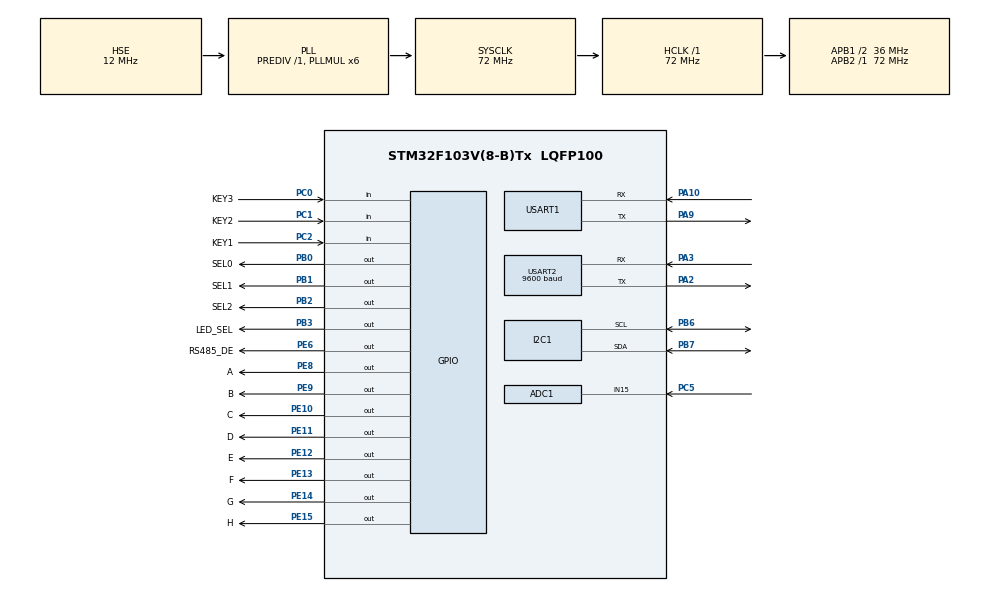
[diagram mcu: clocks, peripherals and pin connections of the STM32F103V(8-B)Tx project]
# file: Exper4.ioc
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ADC1.Channel-0\#ChannelRegularConversion=ADC_CHANNEL_15
ADC1.NbrOfConversionFlag=1
ADC1.Rank-0\#ChannelRegularConversion=1
ADC1.SamplingTime-0\#ChannelRegularConversion=ADC_SAMPLETIME_1CYCLE_5
ADC1.master=1
Mcu.Family=STM32F1
Mcu.Name=STM32F103V(8-B)Tx
Mcu.Package=LQFP100
NVIC.PriorityGroup=NVIC_PRIORITYGROUP_4
NVIC.TIM3_IRQn=true\:0\:0\:false\:false\:true\:true\:true\:true
NVIC.USART2_IRQn=true\:0\:0\:false\:false\:true\:true\:true\:true
OSC_IN.Mode=HSE-External-Oscillator
OSC_IN.Signal=RCC_OSC_IN
OSC_OUT.Mode=HSE-External-Oscillator
OSC_OUT.Signal=RCC_OSC_OUT
PA10.Mode=Asynchronous
PA10.Signal=USART1_RX
PA13.Mode=Serial_Wire
PA13.Signal=SYS_JTMS-SWDIO
PA14.Mode=Serial_Wire
PA14.Signal=SYS_JTCK-SWCLK
PA2.Mode=Asynchronous
PA2.Signal=USART2_TX
PA3.Mode=Asynchronous
PA3.Signal=USART2_RX
PA9.Mode=Asynchronous
PA9.Signal=USART1_TX
PB0.GPIO_Label=SEL0
PB0.Signal=GPIO_Output
PB1.GPIO_Label=SEL1
PB1.Signal=GPIO_Output
PB2.GPIO_Label=SEL2
PB2.Signal=GPIO_Output
PB3.GPIO_Label=LED_SEL
PB3.Signal=GPIO_Output
PB6.Mode=I2C
PB6.Signal=I2C1_SCL
PB7.Mode=I2C
PB7.Signal=I2C1_SDA
PC0.GPIO_Label=KEY3
PC0.Signal=GPIO_Input
PC1.GPIO_Label=KEY2
PC1.Signal=GPIO_Input
PC14-OSC32_IN.Mode=LSE-External-Oscillator
PC14-OSC32_IN.Signal=RCC_OSC32_IN
PC15-OSC32_OUT.Mode=LSE-External-Oscillator
PC15-OSC32_OUT.Signal=RCC_OSC32_OUT
PC2.GPIO_Label=KEY1
PC2.Signal=GPIO_Input
PC5.Signal=ADCx_IN15
PE10.GPIO_Label=C
PE10.Signal=GPIO_Output
PE11.GPIO_Label=D
PE11.Signal=GPIO_Output
PE12.GPIO_Label=E
PE12.Signal=GPIO_Output
PE13.GPIO_Label=F
PE13.Signal=GPIO_Output
PE14.GPIO_Label=G
PE14.Signal=GPIO_Output
PE15.GPIO_Label=H
PE15.Signal=GPIO_Output
PE6.GPIO_Label=RS485_DE
PE6.Signal=GPIO_Output
PE8.GPIO_Label=A
PE8.Signal=GPIO_Output
PE9.GPIO_Label=B
PE9.Signal=GPIO_Output
ProjectManager.HeapSize=0x200
ProjectManager.StackSize=0x400
ProjectManager.TargetToolchain=STM32CubeIDE
RCC.ADCPresc=RCC_ADCPCLK2_DIV6
RCC.AHBFreq_Value=72000000
RCC.APB1CLKDivider=RCC_HCLK_DIV2
RCC.APB1Freq_Value=36000000
RCC.APB1TimFreq_Value=72000000
RCC.APB2Freq_Value=72000000
RCC.APB2TimFreq_Value=72000000
RCC.HCLKFreq_Value=72000000
RCC.HSE_VALUE=12000000
RCC.PLLMUL=RCC_PLL_MUL6
RCC.PLLSourceVirtual=RCC_PLLSOURCE_HSE
RCC.SYSCLKFreq_VALUE=72000000
RCC.SYSCLKSource=RCC_SYSCLKSOURCE_PLLCLK
RCC.USBFreq_Value=72000000
SH.ADCx_IN15.0=ADC1_IN15,IN15
TIM3.Period=2000-1
TIM3.Prescaler=72-1
USART1.VirtualMode=VM_ASYNC
USART2.BaudRate=9600
USART2.VirtualMode=VM_ASYNC
VP_RTC_VS_RTC_Activate.Mode=RTC_Enabled
VP_TIM3_VS_ClockSourceINT.Mode=Internal
board=custom

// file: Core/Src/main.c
/* USER CODE BEGIN Header */
/**
  ******************************************************************************
  * @file           : main.c
  * @brief          : Main program body
  ******************************************************************************
  * @attention
  *
  * Copyright (c) 2025 STMicroelectronics.
  * All rights reserved.
  *
  * This software is licensed under terms that can be found in the LICENSE file
  * in the root directory of this software component.
  * If no LICENSE file comes with this software, it is provided AS-IS.
  *
  ******************************************************************************
  */
/* USER CODE END Header */
#include "main.h"

/* USER CODE BEGIN Includes */
#include<stdio.h>
#include<string.h>
#include <math.h>
/* USER CODE END Includes */

/* USER CODE BEGIN PTD */
/* 角色定义 */
typedef enum {
    ROLE_SLAVE = 0, // 默认是从机（安全起见，防止两个主机上电冲突）
    ROLE_MASTER = 1
} SystemRole_TypeDef;
/* USER CODE END PTD */

/* USER CODE BEGIN PD */
#define RS485_TX_EN() HAL_GPIO_WritePin(GPIOE, GPIO_PIN_6, GPIO_PIN_SET)
#define RS485_RX_EN() HAL_GPIO_WritePin(GPIOE, GPIO_PIN_6, GPIO_PIN_RESET)
#define AT24C02_ADDR 0xA0
/* USER CODE END PD */

ADC_HandleTypeDef hadc1;

I2C_HandleTypeDef hi2c1;

RTC_HandleTypeDef hrtc;

TIM_HandleTypeDef htim3;

UART_HandleTypeDef huart1;
UART_HandleTypeDef huart2;

/* USER CODE BEGIN PV */
/* 全局变量 */
SystemRole_TypeDef current_role = ROLE_SLAVE; // 当前角色
uint8_t rx_buffer[128]; // 接收缓冲区
uint8_t rx_byte;        // 单字节接收缓存
uint8_t rx_flag = 0;    // 接收完成标志
uint8_t rx_idx = 0;     // 接收索引

uint32_t last_poll_time = 0; // 主机轮询计时器
uint32_t last_key_time = 0;

// 数码管显示缓冲：[0]=模式码, [1]=十位, [2]=个位
uint8_t disp_buf[3] = {0, 17, 17};

// 上电默认值设为 255 (表示还没读或者无效)
uint8_t saved_temp = 255;

/* USER CODE END PV */

void SystemClock_Config(void);
static void MX_GPIO_Init(void);
static void MX_ADC1_Init(void);
static void MX_RTC_Init(void);
static void MX_USART2_UART_Init(void);
static void MX_USART1_UART_Init(void);
static void MX_I2C1_Init(void);
static void MX_TIM3_Init(void);
/* USER CODE BEGIN PFP */

uint16_t ModBus_CRC16(uint8_t *buffer, uint8_t len);
uint16_t Get_ADC_Value(void);
void Display_Scan_Loop(void);

void AT24C02_WriteOneByte(uint8_t addr, uint8_t data);
uint8_t AT24C02_ReadOneByte(uint8_t addr);
/* USER CODE END PFP */

/* USER CODE BEGIN 0 */
void RS485_Send(uint8_t *data, uint16_t len) {
    RS485_TX_EN(); // 切为发送
    HAL_UART_Transmit(&huart2, data, len, 100);
    RS485_RX_EN(); // 切回接收
}

/* USER CODE END 0 */

int main(void)
{

  /* MCU Configuration--------------------------------------------------------*/

  /* Reset of all peripherals, Initializes the Flash interface and the Systick. */
  HAL_Init();

  /* Configure the system clock */
  SystemClock_Config();

  /* Initialize all configured peripherals */
  MX_GPIO_Init();
  MX_ADC1_Init();
  MX_RTC_Init();
  MX_USART2_UART_Init();
  MX_USART1_UART_Init();
  MX_I2C1_Init();
  MX_TIM3_Init();
  /* USER CODE BEGIN 2 */
  HAL_GPIO_WritePin(LED_SEL_GPIO_Port, LED_SEL_Pin, GPIO_PIN_RESET);
  // 启动接收中断
  RS485_RX_EN();
  HAL_UART_Receive_IT(&huart2, &rx_byte, 1);

  //上电立刻读取 EEPROM 中的历史温度
    saved_temp = AT24C02_ReadOneByte(0x00);
    if (saved_temp > 99) {
          saved_temp = 0; // 或者 255 代表无效
      }
  // 初始化显示缓冲：默认 Slave(0), 温度不显示(0xFF)
    disp_buf[0] = 0;
    disp_buf[1] = 17;
    disp_buf[2] = 17;
  /* USER CODE END 2 */

  /* Infinite loop */
  /* USER CODE BEGIN WHILE */
  while (1)
  {
	  Display_Scan_Loop();
	   /* ================= 模式切换 (KEY3) ================= */
	   if (HAL_GPIO_ReadPin(KEY3_GPIO_Port, KEY3_Pin) == GPIO_PIN_RESET)
	   {
	       HAL_Delay(9);
	       if (HAL_GPIO_ReadPin(KEY3_GPIO_Port, KEY3_Pin) == GPIO_PIN_RESET)
	       {
	            while(HAL_GPIO_ReadPin(KEY3_GPIO_Port, KEY3_Pin) == GPIO_PIN_RESET) {
	            }

	            current_role = (current_role == ROLE_MASTER) ? ROLE_SLAVE : ROLE_MASTER;
	            rx_idx = 0;
	            disp_buf[0] = (current_role == ROLE_MASTER) ? 1 : 0;

	            // 切换到主机时，立即从 EEPROM 读取历史温度显示
	            if (current_role == ROLE_MASTER)
			   {
				   // 只要一切换变成主机，马上把内存里存的 saved_temp 显示出来
				   if (saved_temp <= 99) {
					   if(saved_temp < 10) {
						   disp_buf[1] = 17;
						   disp_buf[2] = saved_temp;
					   } else {
						   disp_buf[1] = saved_temp / 10;
						   disp_buf[2] = saved_temp % 10;
					   }
				   }
			   }
			   else // 变成从机
			   {
				   disp_buf[1] = 17;
				   disp_buf[2] = 17;
			   }
	       }
	   }

	   /* ================= 主机逻辑 (MASTER) ================= */
	   if (current_role == ROLE_MASTER)
	   {
	        // A. 周期发送 Modbus 查询 (1秒一次)
	        if (HAL_GetTick() - last_poll_time >= 1000)
	        {
	            uint8_t tx_buf[8] = {0x01, 0x03, 0x00, 0x00, 0x00, 0x01, 0x00, 0x00};
	            uint16_t crc = ModBus_CRC16(tx_buf, 6);
	            tx_buf[6] = crc & 0xFF;
	            tx_buf[7] = (crc >> 8) & 0xFF;

	            RS485_Send(tx_buf, 8);
	            last_poll_time = HAL_GetTick();
	        }

	        // B. 接收并解析
	        if (rx_idx >= 7)
	        {
	            uint16_t cal_crc = ModBus_CRC16(rx_buffer, rx_idx - 2);
	            uint16_t rec_crc = rx_buffer[rx_idx-2] | (rx_buffer[rx_idx-1] << 8);

	            if (rx_buffer[0] == 0x01 && rx_buffer[1] == 0x03 && cal_crc == rec_crc)
	            {
	                uint16_t adc_raw = (rx_buffer[3] << 8) | rx_buffer[4];
	                if (adc_raw == 0) adc_raw = 1;

	                // NTC 温度计算
	                float R_up = 10000.0f;
	                float R_ntc = R_up * (float)adc_raw / (4095.0f - (float)adc_raw);
	                float B = 3950.0f;
	                float T0 = 298.15f;
	                float temp_k = 1.0f / ((1.0f / T0) + (1.0f / B) * logf(R_ntc / 10000.0f));
	                float temp_c = temp_k - 273.15f;

	                int temp_show = (int)(temp_c + 0.5f);
	                if(temp_show < 0) temp_show = 0;
	                if(temp_show > 99) temp_show = 99;

	                // 串口打印
	                char msg_buf[32];
	                sprintf(msg_buf, "T=%d C\r\n", temp_show);
	                HAL_UART_Transmit(&huart1, (uint8_t*)msg_buf, strlen(msg_buf), 10);

	                //EEPROM 存储逻辑
	                // 只有当温度发生变化，且数值有效时才写入，保护芯片寿命，防止频繁写入造成的数码管闪烁
	                if (temp_show != saved_temp)
	                {
	                    AT24C02_WriteOneByte(0x00, (uint8_t)temp_show); // 写入地址 0x00
	                    saved_temp = (uint8_t)temp_show;
	                    //串口提示存储成功
	                    HAL_UART_Transmit(&huart1, (uint8_t*)"Saved to ROM\r\n", 14, 10);
	                }

	                // 更新数码管
	                if (temp_show < 10) {
	                       disp_buf[1] = 17; // 十位熄灭
	                   } else {
	                       disp_buf[1] = temp_show / 10;
	                   }
	                disp_buf[2] = temp_show % 10;
	            }
	            rx_idx = 0;
	        }
	   }
	   /* ================= 从机逻辑 (SLAVE) ================= */
	   else
	   {
	        disp_buf[1] = 17;
	        disp_buf[2] = 17;
	        if (rx_idx >= 8)
	        {
	            uint16_t cal_crc = ModBus_CRC16(rx_buffer, rx_idx - 2);
	            uint16_t rec_crc = rx_buffer[rx_idx-2] | (rx_buffer[rx_idx-1] << 8);

	            if (cal_crc == rec_crc && rx_buffer[0] == 0x01 && rx_buffer[1] == 0x03)
	            {
	                uint16_t my_adc = Get_ADC_Value();
	                uint8_t tx_buf[7] = {0x01, 0x03, 0x02, (my_adc >> 8), (my_adc & 0xFF), 0, 0};
	                uint16_t crc = ModBus_CRC16(tx_buf, 5);
	                tx_buf[5] = crc & 0xFF;
	                tx_buf[6] = (crc >> 8) & 0xFF;
	                HAL_Delay(2);
	                RS485_Send(tx_buf, 7);
	            }
	            rx_idx = 0;
	        }
	   }

    /* USER CODE END WHILE */

  }
}

void SystemClock_Config(void)
{
  RCC_OscInitTypeDef RCC_OscInitStruct = {0};
  RCC_ClkInitTypeDef RCC_ClkInitStruct = {0};
  RCC_PeriphCLKInitTypeDef PeriphClkInit = {0};

  /** Initializes the RCC Oscillators according to the specified parameters
  * in the RCC_OscInitTypeDef structure.
  */
  RCC_OscInitStruct.OscillatorType = RCC_OSCILLATORTYPE_LSI|RCC_OSCILLATORTYPE_HSE;
  RCC_OscInitStruct.HSEState = RCC_HSE_ON;
  RCC_OscInitStruct.HSEPredivValue = RCC_HSE_PREDIV_DIV1;
  RCC_OscInitStruct.HSIState = RCC_HSI_ON;
  RCC_OscInitStruct.LSIState = RCC_LSI_ON;
  RCC_OscInitStruct.PLL.PLLState = RCC_PLL_ON;
  RCC_OscInitStruct.PLL.PLLSource = RCC_PLLSOURCE_HSE;
  RCC_OscInitStruct.PLL.PLLMUL = RCC_PLL_MUL6;
  if (HAL_RCC_OscConfig(&RCC_OscInitStruct) != HAL_OK)
  {
    Error_Handler();
  }

  /** Initializes the CPU, AHB and APB buses clocks
  */
  RCC_ClkInitStruct.ClockType = RCC_CLOCKTYPE_HCLK|RCC_CLOCKTYPE_SYSCLK
                              |RCC_CLOCKTYPE_PCLK1|RCC_CLOCKTYPE_PCLK2;
  RCC_ClkInitStruct.SYSCLKSource = RCC_SYSCLKSOURCE_PLLCLK;
  RCC_ClkInitStruct.AHBCLKDivider = RCC_SYSCLK_DIV1;
  RCC_ClkInitStruct.APB1CLKDivider = RCC_HCLK_DIV2;
  RCC_ClkInitStruct.APB2CLKDivider = RCC_HCLK_DIV1;

  if (HAL_RCC_ClockConfig(&RCC_ClkInitStruct, FLASH_LATENCY_2) != HAL_OK)
  {
    Error_Handler();
  }
  PeriphClkInit.PeriphClockSelection = RCC_PERIPHCLK_RTC|RCC_PERIPHCLK_ADC;
  PeriphClkInit.RTCClockSelection = RCC_RTCCLKSOURCE_LSI;
  PeriphClkInit.AdcClockSelection = RCC_ADCPCLK2_DIV6;
  if (HAL_RCCEx_PeriphCLKConfig(&PeriphClkInit) != HAL_OK)
  {
    Error_Handler();
  }
}

static void MX_ADC1_Init(void)
{

  ADC_ChannelConfTypeDef sConfig = {0};

  /** Common config
  */
  hadc1.Instance = ADC1;
  hadc1.Init.ScanConvMode = ADC_SCAN_DISABLE;
  hadc1.Init.ContinuousConvMode = DISABLE;
  hadc1.Init.DiscontinuousConvMode = DISABLE;
  hadc1.Init.ExternalTrigConv = ADC_SOFTWARE_START;
  hadc1.Init.DataAlign = ADC_DATAALIGN_RIGHT;
  hadc1.Init.NbrOfConversion = 1;
  if (HAL_ADC_Init(&hadc1) != HAL_OK)
  {
    Error_Handler();
  }

  /** Configure Regular Channel
  */
  sConfig.Channel = ADC_CHANNEL_15;
  sConfig.Rank = ADC_REGULAR_RANK_1;
  sConfig.SamplingTime = ADC_SAMPLETIME_1CYCLE_5;
  if (HAL_ADC_ConfigChannel(&hadc1, &sConfig) != HAL_OK)
  {
    Error_Handler();
  }

}

static void MX_I2C1_Init(void)
{

  hi2c1.Instance = I2C1;
  hi2c1.Init.ClockSpeed = 100000;
  hi2c1.Init.DutyCycle = I2C_DUTYCYCLE_2;
  hi2c1.Init.OwnAddress1 = 0;
  hi2c1.Init.AddressingMode = I2C_ADDRESSINGMODE_7BIT;
  hi2c1.Init.DualAddressMode = I2C_DUALADDRESS_DISABLE;
  hi2c1.Init.OwnAddress2 = 0;
  hi2c1.Init.GeneralCallMode = I2C_GENERALCALL_DISABLE;
  hi2c1.Init.NoStretchMode = I2C_NOSTRETCH_DISABLE;
  if (HAL_I2C_Init(&hi2c1) != HAL_OK)
  {
    Error_Handler();
  }

}

static void MX_RTC_Init(void)
{

  /** Initialize RTC Only
  */
  hrtc.Instance = RTC;
  hrtc.Init.AsynchPrediv = RTC_AUTO_1_SECOND;
  hrtc.Init.OutPut = RTC_OUTPUTSOURCE_ALARM;
  if (HAL_RTC_Init(&hrtc) != HAL_OK)
  {
    Error_Handler();
  }

}

static void MX_TIM3_Init(void)
{

  TIM_ClockConfigTypeDef sClockSourceConfig = {0};
  TIM_MasterConfigTypeDef sMasterConfig = {0};

  htim3.Instance = TIM3;
  htim3.Init.Prescaler = 72-1;
  htim3.Init.CounterMode = TIM_COUNTERMODE_UP;
  htim3.Init.Period = 2000-1;
  htim3.Init.ClockDivision = TIM_CLOCKDIVISION_DIV1;
  htim3.Init.AutoReloadPreload = TIM_AUTORELOAD_PRELOAD_DISABLE;
  if (HAL_TIM_Base_Init(&htim3) != HAL_OK)
  {
    Error_Handler();
  }
  sClockSourceConfig.ClockSource = TIM_CLOCKSOURCE_INTERNAL;
  if (HAL_TIM_ConfigClockSource(&htim3, &sClockSourceConfig) != HAL_OK)
  {
    Error_Handler();
  }
  sMasterConfig.MasterOutputTrigger = TIM_TRGO_RESET;
  sMasterConfig.MasterSlaveMode = TIM_MASTERSLAVEMODE_DISABLE;
  if (HAL_TIMEx_MasterConfigSynchronization(&htim3, &sMasterConfig) != HAL_OK)
  {
    Error_Handler();
  }

}

static void MX_USART1_UART_Init(void)
{

  huart1.Instance = USART1;
  huart1.Init.BaudRate = 115200;
  huart1.Init.WordLength = UART_WORDLENGTH_8B;
  huart1.Init.StopBits = UART_STOPBITS_1;
  huart1.Init.Parity = UART_PARITY_NONE;
  huart1.Init.Mode = UART_MODE_TX_RX;
  huart1.Init.HwFlowCtl = UART_HWCONTROL_NONE;
  huart1.Init.OverSampling = UART_OVERSAMPLING_16;
  if (HAL_UART_Init(&huart1) != HAL_OK)
  {
    Error_Handler();
  }

}

static void MX_USART2_UART_Init(void)
{

  huart2.Instance = USART2;
  huart2.Init.BaudRate = 9600;
  huart2.Init.WordLength = UART_WORDLENGTH_8B;
  huart2.Init.StopBits = UART_STOPBITS_1;
  huart2.Init.Parity = UART_PARITY_NONE;
  huart2.Init.Mode = UART_MODE_TX_RX;
  huart2.Init.HwFlowCtl = UART_HWCONTROL_NONE;
  huart2.Init.OverSampling = UART_OVERSAMPLING_16;
  if (HAL_UART_Init(&huart2) != HAL_OK)
  {
    Error_Handler();
  }

}

static void MX_GPIO_Init(void)
{
  GPIO_InitTypeDef GPIO_InitStruct = {0};

  /* GPIO Ports Clock Enable */
  __HAL_RCC_GPIOE_CLK_ENABLE();
  __HAL_RCC_GPIOC_CLK_ENABLE();
  __HAL_RCC_GPIOA_CLK_ENABLE();
  __HAL_RCC_GPIOB_CLK_ENABLE();

  /*Configure GPIO pin Output Level */
  HAL_GPIO_WritePin(GPIOE, RS485_DE_Pin|A_Pin|B_Pin|C_Pin
                          |D_Pin|E_Pin|F_Pin|G_Pin
                          |H_Pin, GPIO_PIN_RESET);

  /*Configure GPIO pin Output Level */
  HAL_GPIO_WritePin(GPIOB, SEL0_Pin|SEL1_Pin|SEL2_Pin|LED_SEL_Pin, GPIO_PIN_RESET);

  /*Configure GPIO pins : RS485_DE_Pin A_Pin B_Pin C_Pin
                           D_Pin E_Pin F_Pin G_Pin
                           H_Pin */
  GPIO_InitStruct.Pin = RS485_DE_Pin|A_Pin|B_Pin|C_Pin
                          |D_Pin|E_Pin|F_Pin|G_Pin
                          |H_Pin;
  GPIO_InitStruct.Mode = GPIO_MODE_OUTPUT_PP;
  GPIO_InitStruct.Pull = GPIO_NOPULL;
  GPIO_InitStruct.Speed = GPIO_SPEED_FREQ_LOW;
  HAL_GPIO_Init(GPIOE, &GPIO_InitStruct);

  /*Configure GPIO pins : KEY3_Pin KEY2_Pin KEY1_Pin */
  GPIO_InitStruct.Pin = KEY3_Pin|KEY2_Pin|KEY1_Pin;
  GPIO_InitStruct.Mode = GPIO_MODE_INPUT;
  GPIO_InitStruct.Pull = GPIO_NOPULL;
  HAL_GPIO_Init(GPIOC, &GPIO_InitStruct);

  /*Configure GPIO pins : SEL0_Pin SEL1_Pin SEL2_Pin LED_SEL_Pin */
  GPIO_InitStruct.Pin = SEL0_Pin|SEL1_Pin|SEL2_Pin|LED_SEL_Pin;
  GPIO_InitStruct.Mode = GPIO_MODE_OUTPUT_PP;
  GPIO_InitStruct.Pull = GPIO_NOPULL;
  GPIO_InitStruct.Speed = GPIO_SPEED_FREQ_LOW;
  HAL_GPIO_Init(GPIOB, &GPIO_InitStruct);

}

/* USER CODE BEGIN 4 */
// 串口接收中断回调
void HAL_UART_RxCpltCallback(UART_HandleTypeDef *huart)
{
    if (huart->Instance == USART2)
    {
        rx_buffer[rx_idx++] = rx_byte;
        // 简单防溢出
        if (rx_idx >= 128) rx_idx = 0;
        // 继续接收
        HAL_UART_Receive_IT(&huart2, &rx_byte, 1);
    }
}
void HAL_TIM_PeriodElapsedCallback(TIM_HandleTypeDef *htim)
{
    if (htim->Instance == TIM3)
    {
        Display_Scan_Loop(); // 在中断里扫描数码管
    }
}
// ADC 读取函数 (读取 IN15)
uint16_t Get_ADC_Value(void)
{
    HAL_ADC_Start(&hadc1);                     // 启动 ADC
    HAL_ADC_PollForConversion(&hadc1, 10);     // 等待转换完成
    uint16_t val = HAL_ADC_GetValue(&hadc1);   // 获取数据
    return val;
}

// ModBus CRC16 计算函数
uint16_t ModBus_CRC16(uint8_t *buffer, uint8_t len)
{
    uint16_t crc = 0xFFFF;
    for (int pos = 0; pos < len; pos++)
    {
        crc ^= (uint16_t)buffer[pos];
        for (int i = 8; i != 0; i--)
        {
            if ((crc & 0x0001) != 0)
            {
                crc >>= 1;
                crc ^= 0xA001;
            }
            else
            {
                crc >>= 1;
            }
        }
    }
    // ModBus 协议中 CRC 是低字节在前，高字节在后，但计算结果通常不用交换
    // 发送时拆分即可
    return crc;
}
// 共阴/共阳极段码表 (0-9, A, B, C, D, E, F, -)
const uint8_t SEG_CODE[] = {
    0x3F, 0x06, 0x5B, 0x4F, 0x66, 0x6D, 0x7D, 0x07,
    0x7F, 0x6F, 0x77, 0x7C, 0x39, 0x5E, 0x79, 0x71, 0x40
};

// 写段码 (控制 A-H 引脚)
void Write_Segment(uint8_t code)
{
    // 使用命名的信号 A-H
    HAL_GPIO_WritePin(A_GPIO_Port, A_Pin, (code & 0x01) ? GPIO_PIN_SET : GPIO_PIN_RESET);
    HAL_GPIO_WritePin(B_GPIO_Port, B_Pin, (code & 0x02) ? GPIO_PIN_SET : GPIO_PIN_RESET);
    HAL_GPIO_WritePin(C_GPIO_Port, C_Pin, (code & 0x04) ? GPIO_PIN_SET : GPIO_PIN_RESET);
    HAL_GPIO_WritePin(D_GPIO_Port, D_Pin, (code & 0x08) ? GPIO_PIN_SET : GPIO_PIN_RESET);
    HAL_GPIO_WritePin(E_GPIO_Port, E_Pin, (code & 0x10) ? GPIO_PIN_SET : GPIO_PIN_RESET);
    HAL_GPIO_WritePin(F_GPIO_Port, F_Pin, (code & 0x20) ? GPIO_PIN_SET : GPIO_PIN_RESET);
    HAL_GPIO_WritePin(G_GPIO_Port, G_Pin, (code & 0x40) ? GPIO_PIN_SET : GPIO_PIN_RESET);
    HAL_GPIO_WritePin(H_GPIO_Port, H_Pin, (code & 0x80) ? GPIO_PIN_SET : GPIO_PIN_RESET);
}

// 硬件位选输出函数
void Select_Hardware_Digit(uint8_t val)
{
    // 这里用 0x01, 0x02, 0x04 对应 SEL0(A), SEL1(B), SEL2(C)
    HAL_GPIO_WritePin(SEL0_GPIO_Port, SEL0_Pin, (val & 0x01) ? GPIO_PIN_SET : GPIO_PIN_RESET);
    HAL_GPIO_WritePin(SEL1_GPIO_Port, SEL1_Pin, (val & 0x02) ? GPIO_PIN_SET : GPIO_PIN_RESET);
    HAL_GPIO_WritePin(SEL2_GPIO_Port, SEL2_Pin, (val & 0x04) ? GPIO_PIN_SET : GPIO_PIN_RESET);
}

// 扫描函数
void Display_Scan_Loop(void)
{
    static uint8_t step = 0;
    // 强制消隐 (关断段选) —— 解决重叠和显示8的核心！
    Write_Segment(0x00);

    // 加一点微小的延时，给硬件反应时间 (消影死区)
    for(int i=0; i<50; i++) { __NOP(); }

    //切换位选 (74HC138)
    switch(step)
    {
        case 0:
            Select_Hardware_Digit(7);
            // 写入数据
            Write_Segment(SEG_CODE[disp_buf[0]]);
            break;

        case 1:
            Select_Hardware_Digit(0);
            // 写入数据
            Write_Segment(SEG_CODE[disp_buf[1]]);
            break;

        case 2:
            Select_Hardware_Digit(1);
            // 写入数据
            Write_Segment(SEG_CODE[disp_buf[2]]);
            break;
    }
    // 第三步：发光延时
    HAL_Delay(2);

    // 切换下一步
    step++;
    if(step > 2) step = 0;
}

// 写入一个字节到 EEPROM
void AT24C02_WriteOneByte(uint8_t addr, uint8_t data)
{
    // 等待芯片就绪（重试 3 次），防止上一次写入还没结束
    if(HAL_I2C_IsDeviceReady(&hi2c1, AT24C02_ADDR, 3, 100) == HAL_OK)
    {
        HAL_I2C_Mem_Write(&hi2c1, AT24C02_ADDR, addr, I2C_MEMADD_SIZE_8BIT, &data, 1, 100);
        // 【关键】必须延时 5ms，这是 AT24C02 的物理特性！
        HAL_Delay(5);
    }
}

uint8_t AT24C02_ReadOneByte(uint8_t addr)
{
    uint8_t data = 0;
    // 读取前也检测一下，防止紧接着写入后的读取失败
    if(HAL_I2C_IsDeviceReady(&hi2c1, AT24C02_ADDR, 3, 100) == HAL_OK)
    {
        if(HAL_I2C_Mem_Read(&hi2c1, AT24C02_ADDR, addr, I2C_MEMADD_SIZE_8BIT, &data, 1, 100) != HAL_OK)
        {
            return 0xFF; // 如果读取失败，返回 0xFF 表示错误
        }
    }
    return data;
}

/* USER CODE END 4 */

void Error_Handler(void)
{
  __disable_irq();
  while (1)
  {
  }
}
